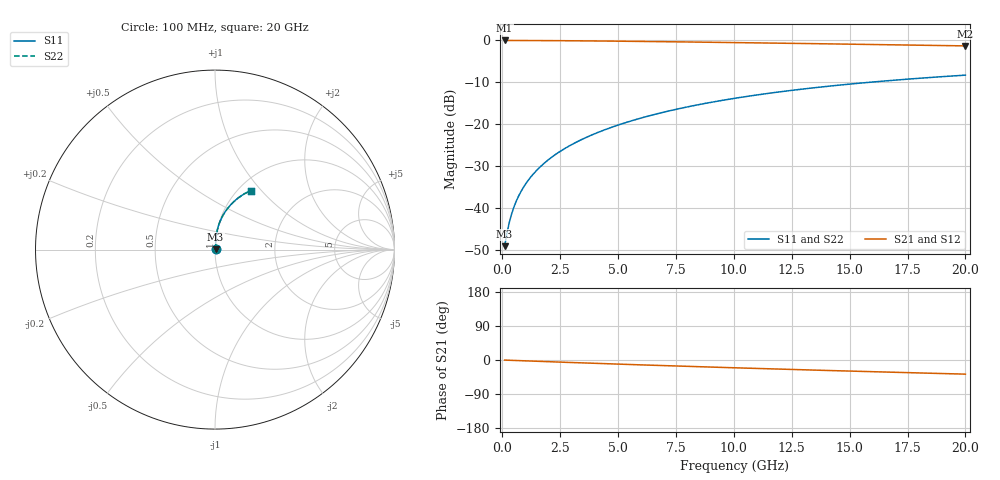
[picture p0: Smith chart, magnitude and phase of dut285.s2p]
! Touchstone file exported from HFSS 2024.1.0
!  File:  C:/UserFiles/LocalFiles/RDL_TSV_Batchsim/temp_RDL_top_285_1778690227.aedt
!  Generated:  12:39:26 AM May 14, 2026
!  Design:  RDL_top
!  Project:  temp_RDL_top_285_1778690227
!  Setup:  Setup1
!  Solution:  Sweep
! Variables:
!  dtsv = 10.80580581um
!  hbump = 3um
!  htsv = 58.28um
!  ldown = 100um
!  lrdl = 477.12um
!  p = 40
!  p1 = 58.68um
!  rhole = 1um
!  t = 450um
!  tdown = 3.915915916um
!  trdl = 2.91um
!  wdown = 15.38538539um
!  wrdl = 22.06um
# GHz S MA R 50.000000
! Terminal data exported
! Port[1] = Box2_T1
! Port[2] = Box2_T2
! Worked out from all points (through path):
!   200 points, 100 MHz to 20 GHz, reference 50 ohm
!   highest |S21| = -0.03 dB at 100 MHz (marker M1); lowest = -1.3 dB at 20 GHz (marker M2)
!   group delay of S21, straight-line fit = 5.14 ps
!   lowest |S11| = -49.1 dB at 100 MHz (marker M3), VSWR 1.01, Z = 50.3 + j0.204 ohm
!   |S11| at or under -10 dB: start of sweep to 15.86 GHz
!   |S22| runs from -49.1 to -8.3 dB; largest |S21 - S12| = 1.9e-15
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0.1  0.003513 35.2  0.9971 -0.2  0.9971 -0.2  0.003513 35.2
! Gamma 0 0 0 0
! Port Impedance 50 0 50 0
0.2  0.004989 53.5  0.997 -0.5  0.997 -0.5  0.004989 53.5
0.3  0.006699 62.6  0.9968 -0.7  0.9968 -0.7  0.006699 62.6
0.4  0.008467 67.7  0.9967 -0.9  0.9967 -0.9  0.008466 67.7
0.5  0.01025 71.1  0.9965 -1.1  0.9965 -1.1  0.01025 71.1
0.6  0.01203 73.6  0.9963 -1.4  0.9963 -1.4  0.01203 73.6
0.8  0.01563 76.9  0.996 -1.8  0.996 -1.8  0.01563 76.9
1.1  0.02108 79.8  0.9954 -2.5  0.9954 -2.5  0.02108 79.8
1.3  0.02476 81.1  0.9949 -2.9  0.9949 -2.9  0.02476 81.1
1.6  0.03034 82.5  0.9942 -3.6  0.9942 -3.6  0.03034 82.5
2.1  0.03977 83.7  0.9926 -4.7  0.9926 -4.7  0.03977 83.7
2.7  0.05132 84.5  0.9903 -6.0  0.9903 -6.0  0.05133 84.5
3.5  0.0671 84.7  0.9865 -7.7  0.9865 -7.7  0.06711 84.7
4.2  0.08124 84.4  0.9827 -9.2  0.9827 -9.2  0.08124 84.4
5  0.09771 83.8  0.9778 -10.9  0.9778 -10.9  0.09771 83.8
5.9  0.1165 82.8  0.9719 -12.7  0.9719 -12.7  0.1166 82.8
6.8  0.1356 81.6  0.9655 -14.5  0.9655 -14.5  0.1356 81.6
8.4  0.1695 79.0  0.9537 -17.5  0.9537 -17.5  0.1695 79.0
10.1  0.205 76.1  0.9405 -20.7  0.9405 -20.7  0.205 76.1
13.4  0.2708 70.1  0.914 -26.5  0.914 -26.5  0.2709 70.1
16.7  0.331 64.3  0.8866 -32.1  0.8866 -32.1  0.331 64.3
20  0.3847 58.8  0.8589 -37.3  0.8589 -37.3  0.3847 58.8
